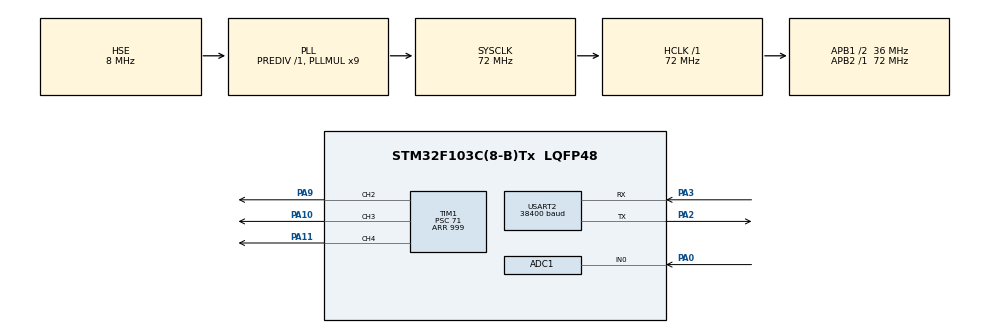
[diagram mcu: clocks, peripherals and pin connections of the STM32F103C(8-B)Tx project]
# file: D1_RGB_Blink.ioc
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ADC1.Channel-1\#ChannelRegularConversion=ADC_CHANNEL_0
ADC1.ContinuousConvMode=ENABLE
ADC1.NbrOfConversionFlag=1
ADC1.Rank-1\#ChannelRegularConversion=1
ADC1.SamplingTime-1\#ChannelRegularConversion=ADC_SAMPLETIME_239CYCLES_5
ADC1.master=1
FREERTOS.Queues01=adcQueue,4,uint32_t,0,Dynamic,NULL,NULL
FREERTOS.Tasks01=defaultTask,8,128,StartDefaultTask,Default,NULL,Dynamic,NULL,NULL;ADCTask,24,128,adcTaskFunc,Default,NULL,Dynamic,NULL,NULL;PWMTask,24,128,pwmTaskFunc,Default,NULL,Dynamic,NULL,NULL
Mcu.Family=STM32F1
Mcu.Name=STM32F103C(8-B)Tx
Mcu.Package=LQFP48
NVIC.PriorityGroup=NVIC_PRIORITYGROUP_4
NVIC.RCC_IRQn=true\:5\:0\:false\:false\:true\:true\:true\:false\:true
NVIC.TIM4_IRQn=true\:15\:0\:false\:false\:true\:false\:false\:true\:true
NVIC.TimeBase=TIM4_IRQn
NVIC.TimeBaseIP=TIM4
NVIC.USART2_IRQn=true\:5\:0\:false\:false\:true\:true\:true\:true\:true
PA0-WKUP.Signal=ADCx_IN0
PA10.Signal=S_TIM1_CH3
PA11.Signal=S_TIM1_CH4
PA13.Mode=Serial_Wire
PA13.Signal=SYS_JTMS-SWDIO
PA14.Mode=Serial_Wire
PA14.Signal=SYS_JTCK-SWCLK
PA2.Mode=Asynchronous
PA2.Signal=USART2_TX
PA3.Mode=Asynchronous
PA3.Signal=USART2_RX
PA4.Signal=USART2_CK
PA9.Signal=S_TIM1_CH2
PD0-OSC_IN.Mode=HSE-External-Oscillator
PD0-OSC_IN.Signal=RCC_OSC_IN
PD1-OSC_OUT.Mode=HSE-External-Oscillator
PD1-OSC_OUT.Signal=RCC_OSC_OUT
ProjectManager.HeapSize=0x200
ProjectManager.StackSize=0x400
ProjectManager.TargetToolchain=MDK-ARM V5.32
RCC.ADCPresc=RCC_ADCPCLK2_DIV6
RCC.AHBFreq_Value=72000000
RCC.APB1CLKDivider=RCC_HCLK_DIV2
RCC.APB1Freq_Value=36000000
RCC.APB1TimFreq_Value=72000000
RCC.APB2Freq_Value=72000000
RCC.APB2TimFreq_Value=72000000
RCC.HCLKFreq_Value=72000000
RCC.PLLMUL=RCC_PLL_MUL9
RCC.PLLSourceVirtual=RCC_PLLSOURCE_HSE
RCC.SYSCLKFreq_VALUE=72000000
RCC.SYSCLKSource=RCC_SYSCLKSOURCE_PLLCLK
RCC.USBFreq_Value=72000000
SH.ADCx_IN0.0=ADC1_IN0,IN0
SH.S_TIM1_CH2.0=TIM1_CH2,PWM Generation2 CH2
SH.S_TIM1_CH3.0=TIM1_CH3,PWM Generation3 CH3
SH.S_TIM1_CH4.0=TIM1_CH4,PWM Generation4 CH4
TIM1.AutoReloadPreload=TIM_AUTORELOAD_PRELOAD_DISABLE
TIM1.AutomaticOutput=TIM_AUTOMATICOUTPUT_DISABLE
TIM1.BreakPolarity=TIM_BREAKPOLARITY_LOW
TIM1.Channel-PWM\ Generation2\ CH2=TIM_CHANNEL_2
TIM1.Channel-PWM\ Generation3\ CH3=TIM_CHANNEL_3
TIM1.Channel-PWM\ Generation4\ CH4=TIM_CHANNEL_4
TIM1.OCFastMode_PWM-PWM\ Generation2\ CH2=TIM_OCFAST_DISABLE
TIM1.OCMode_PWM-PWM\ Generation2\ CH2=TIM_OCMODE_PWM1
TIM1.OCPolarity_2=TIM_OCPOLARITY_HIGH
TIM1.OCPolarity_3=TIM_OCPOLARITY_HIGH
TIM1.OCPolarity_4=TIM_OCPOLARITY_HIGH
TIM1.Period=999
TIM1.Prescaler=71
USART2.BaudRate=38400
USART2.VirtualMode=VM_ASYNC
VP_FREERTOS_VS_CMSIS_V2.Mode=CMSIS_V2
VP_SYS_VS_tim4.Mode=TIM4
VP_TIM1_VS_ClockSourceINT.Mode=Internal
board=custom

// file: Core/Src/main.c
/* USER CODE BEGIN Header */
/**
  ******************************************************************************
  * @file           : main.c
  * @brief          : Main program body
  ******************************************************************************
  * @attention
  *
  * Copyright (c) 2026 STMicroelectronics.
  * All rights reserved.
  *
  * This software is licensed under terms that can be found in the LICENSE file
  * in the root directory of this software component.
  * If no LICENSE file comes with this software, it is provided AS-IS.
  *
  ******************************************************************************
  */
/* USER CODE END Header */
#include "main.h"
#include "cmsis_os.h"

ADC_HandleTypeDef hadc1;

TIM_HandleTypeDef htim1;

UART_HandleTypeDef huart2;

/* Definitions for defaultTask */
osThreadId_t defaultTaskHandle;
const osThreadAttr_t defaultTask_attributes = {
  .name = "defaultTask",
  .stack_size = 128 * 4,
  .priority = (osPriority_t) osPriorityNormal,
};
/* Definitions for ADCTask */
osThreadId_t ADCTaskHandle;
const osThreadAttr_t ADCTask_attributes = {
  .name = "ADCTask",
  .stack_size = 128 * 4,
  .priority = (osPriority_t) osPriorityLow,
};
/* Definitions for PWMTask */
osThreadId_t PWMTaskHandle;
const osThreadAttr_t PWMTask_attributes = {
  .name = "PWMTask",
  .stack_size = 128 * 4,
  .priority = (osPriority_t) osPriorityLow,
};
/* Definitions for adcQueue */
osMessageQueueId_t adcQueueHandle;
const osMessageQueueAttr_t adcQueue_attributes = {
  .name = "adcQueue"
};
/* USER CODE BEGIN PV */

__IO uint8_t rx_cmd = 0;
uint8_t rx_buffer[3];

/* USER CODE END PV */

void SystemClock_Config(void);
static void MX_GPIO_Init(void);
static void MX_USART2_UART_Init(void);
static void MX_TIM1_Init(void);
static void MX_ADC1_Init(void);
void StartDefaultTask(void *argument);
void adcTaskFunc(void *argument);
void pwmTaskFunc(void *argument);

/* USER CODE BEGIN 0 */

void HAL_UART_RxCpltCallback(UART_HandleTypeDef *huart){
    if(huart->Instance == USART2){

        uint8_t ch = rx_buffer[0];

        if(ch != '\r' && ch != '\n'){
            rx_cmd = ch;
        }
        HAL_UART_Receive_IT(&huart2, rx_buffer, 1);
    }
}

void RGB_SetColor(uint8_t r, uint8_t g, uint8_t b)
{
    HAL_GPIO_WritePin(GPIOA, GPIO_PIN_11, r ? GPIO_PIN_SET : GPIO_PIN_RESET);
    HAL_GPIO_WritePin(GPIOA, GPIO_PIN_10, g ? GPIO_PIN_SET : GPIO_PIN_RESET);
    HAL_GPIO_WritePin(GPIOA, GPIO_PIN_9,  b ? GPIO_PIN_SET : GPIO_PIN_RESET);
}

/* USER CODE END 0 */

int main(void)
{

  /* MCU Configuration--------------------------------------------------------*/

  /* Reset of all peripherals, Initializes the Flash interface and the Systick. */
  HAL_Init();

  /* Configure the system clock */
  SystemClock_Config();

  /* Initialize all configured peripherals */
  MX_GPIO_Init();
  MX_USART2_UART_Init();
  MX_TIM1_Init();
  MX_ADC1_Init();
  /* USER CODE BEGIN 2 */
  HAL_UART_Receive_IT(&huart2,rx_buffer,1);
  HAL_TIM_PWM_Start(&htim1,TIM_CHANNEL_2);
  HAL_TIM_PWM_Start(&htim1,TIM_CHANNEL_3);
  HAL_TIM_PWM_Start(&htim1,TIM_CHANNEL_4);

  HAL_ADCEx_Calibration_Start(&hadc1);   // 上电自校准
  HAL_ADC_Start(&hadc1);                 // 启动连续转换

  /* USER CODE END 2 */

  /* Init scheduler */
  osKernelInitialize();

  /* Create the queue(s) */
  /* creation of adcQueue */
  adcQueueHandle = osMessageQueueNew (4, sizeof(uint32_t), &adcQueue_attributes);

  /* Create the thread(s) */
  /* creation of defaultTask */
  defaultTaskHandle = osThreadNew(StartDefaultTask, NULL, &defaultTask_attributes);

  /* creation of ADCTask */
  ADCTaskHandle = osThreadNew(adcTaskFunc, NULL, &ADCTask_attributes);

  /* creation of PWMTask */
  PWMTaskHandle = osThreadNew(pwmTaskFunc, NULL, &PWMTask_attributes);

  /* Start scheduler */
  osKernelStart();

  /* We should never get here as control is now taken by the scheduler */

  /* Infinite loop */
  while (1)
  {

  }
}

void SystemClock_Config(void)
{
  RCC_OscInitTypeDef RCC_OscInitStruct = {0};
  RCC_ClkInitTypeDef RCC_ClkInitStruct = {0};
  RCC_PeriphCLKInitTypeDef PeriphClkInit = {0};

  /** Initializes the RCC Oscillators according to the specified parameters
  * in the RCC_OscInitTypeDef structure.
  */
  RCC_OscInitStruct.OscillatorType = RCC_OSCILLATORTYPE_HSE;
  RCC_OscInitStruct.HSEState = RCC_HSE_ON;
  RCC_OscInitStruct.HSEPredivValue = RCC_HSE_PREDIV_DIV1;
  RCC_OscInitStruct.HSIState = RCC_HSI_ON;
  RCC_OscInitStruct.PLL.PLLState = RCC_PLL_ON;
  RCC_OscInitStruct.PLL.PLLSource = RCC_PLLSOURCE_HSE;
  RCC_OscInitStruct.PLL.PLLMUL = RCC_PLL_MUL9;
  if (HAL_RCC_OscConfig(&RCC_OscInitStruct) != HAL_OK)
  {
    Error_Handler();
  }

  /** Initializes the CPU, AHB and APB buses clocks
  */
  RCC_ClkInitStruct.ClockType = RCC_CLOCKTYPE_HCLK|RCC_CLOCKTYPE_SYSCLK
                              |RCC_CLOCKTYPE_PCLK1|RCC_CLOCKTYPE_PCLK2;
  RCC_ClkInitStruct.SYSCLKSource = RCC_SYSCLKSOURCE_PLLCLK;
  RCC_ClkInitStruct.AHBCLKDivider = RCC_SYSCLK_DIV1;
  RCC_ClkInitStruct.APB1CLKDivider = RCC_HCLK_DIV2;
  RCC_ClkInitStruct.APB2CLKDivider = RCC_HCLK_DIV1;

  if (HAL_RCC_ClockConfig(&RCC_ClkInitStruct, FLASH_LATENCY_2) != HAL_OK)
  {
    Error_Handler();
  }
  PeriphClkInit.PeriphClockSelection = RCC_PERIPHCLK_ADC;
  PeriphClkInit.AdcClockSelection = RCC_ADCPCLK2_DIV6;
  if (HAL_RCCEx_PeriphCLKConfig(&PeriphClkInit) != HAL_OK)
  {
    Error_Handler();
  }
}

static void MX_ADC1_Init(void)
{

  ADC_ChannelConfTypeDef sConfig = {0};

  /** Common config
  */
  hadc1.Instance = ADC1;
  hadc1.Init.ScanConvMode = ADC_SCAN_DISABLE;
  hadc1.Init.ContinuousConvMode = ENABLE;
  hadc1.Init.DiscontinuousConvMode = DISABLE;
  hadc1.Init.ExternalTrigConv = ADC_SOFTWARE_START;
  hadc1.Init.DataAlign = ADC_DATAALIGN_RIGHT;
  hadc1.Init.NbrOfConversion = 1;
  if (HAL_ADC_Init(&hadc1) != HAL_OK)
  {
    Error_Handler();
  }

  /** Configure Regular Channel
  */
  sConfig.Channel = ADC_CHANNEL_0;
  sConfig.Rank = ADC_REGULAR_RANK_1;
  sConfig.SamplingTime = ADC_SAMPLETIME_239CYCLES_5;
  if (HAL_ADC_ConfigChannel(&hadc1, &sConfig) != HAL_OK)
  {
    Error_Handler();
  }

}

static void MX_TIM1_Init(void)
{

  TIM_ClockConfigTypeDef sClockSourceConfig = {0};
  TIM_MasterConfigTypeDef sMasterConfig = {0};
  TIM_OC_InitTypeDef sConfigOC = {0};
  TIM_BreakDeadTimeConfigTypeDef sBreakDeadTimeConfig = {0};

  htim1.Instance = TIM1;
  htim1.Init.Prescaler = 71;
  htim1.Init.CounterMode = TIM_COUNTERMODE_UP;
  htim1.Init.Period = 999;
  htim1.Init.ClockDivision = TIM_CLOCKDIVISION_DIV1;
  htim1.Init.RepetitionCounter = 0;
  htim1.Init.AutoReloadPreload = TIM_AUTORELOAD_PRELOAD_DISABLE;
  if (HAL_TIM_Base_Init(&htim1) != HAL_OK)
  {
    Error_Handler();
  }
  sClockSourceConfig.ClockSource = TIM_CLOCKSOURCE_INTERNAL;
  if (HAL_TIM_ConfigClockSource(&htim1, &sClockSourceConfig) != HAL_OK)
  {
    Error_Handler();
  }
  if (HAL_TIM_PWM_Init(&htim1) != HAL_OK)
  {
    Error_Handler();
  }
  sMasterConfig.MasterOutputTrigger = TIM_TRGO_RESET;
  sMasterConfig.MasterSlaveMode = TIM_MASTERSLAVEMODE_DISABLE;
  if (HAL_TIMEx_MasterConfigSynchronization(&htim1, &sMasterConfig) != HAL_OK)
  {
    Error_Handler();
  }
  sConfigOC.OCMode = TIM_OCMODE_PWM1;
  sConfigOC.Pulse = 0;
  sConfigOC.OCPolarity = TIM_OCPOLARITY_HIGH;
  sConfigOC.OCNPolarity = TIM_OCNPOLARITY_HIGH;
  sConfigOC.OCFastMode = TIM_OCFAST_DISABLE;
  sConfigOC.OCIdleState = TIM_OCIDLESTATE_RESET;
  sConfigOC.OCNIdleState = TIM_OCNIDLESTATE_RESET;
  if (HAL_TIM_PWM_ConfigChannel(&htim1, &sConfigOC, TIM_CHANNEL_2) != HAL_OK)
  {
    Error_Handler();
  }
  if (HAL_TIM_PWM_ConfigChannel(&htim1, &sConfigOC, TIM_CHANNEL_3) != HAL_OK)
  {
    Error_Handler();
  }
  if (HAL_TIM_PWM_ConfigChannel(&htim1, &sConfigOC, TIM_CHANNEL_4) != HAL_OK)
  {
    Error_Handler();
  }
  sBreakDeadTimeConfig.OffStateRunMode = TIM_OSSR_DISABLE;
  sBreakDeadTimeConfig.OffStateIDLEMode = TIM_OSSI_DISABLE;
  sBreakDeadTimeConfig.LockLevel = TIM_LOCKLEVEL_OFF;
  sBreakDeadTimeConfig.DeadTime = 0;
  sBreakDeadTimeConfig.BreakState = TIM_BREAK_DISABLE;
  sBreakDeadTimeConfig.BreakPolarity = TIM_BREAKPOLARITY_LOW;
  sBreakDeadTimeConfig.AutomaticOutput = TIM_AUTOMATICOUTPUT_DISABLE;
  if (HAL_TIMEx_ConfigBreakDeadTime(&htim1, &sBreakDeadTimeConfig) != HAL_OK)
  {
    Error_Handler();
  }
  HAL_TIM_MspPostInit(&htim1);

}

static void MX_USART2_UART_Init(void)
{

  huart2.Instance = USART2;
  huart2.Init.BaudRate = 38400;
  huart2.Init.WordLength = UART_WORDLENGTH_8B;
  huart2.Init.StopBits = UART_STOPBITS_1;
  huart2.Init.Parity = UART_PARITY_NONE;
  huart2.Init.Mode = UART_MODE_TX_RX;
  huart2.Init.HwFlowCtl = UART_HWCONTROL_NONE;
  huart2.Init.OverSampling = UART_OVERSAMPLING_16;
  if (HAL_UART_Init(&huart2) != HAL_OK)
  {
    Error_Handler();
  }

}

static void MX_GPIO_Init(void)
{

  /* GPIO Ports Clock Enable */
  __HAL_RCC_GPIOD_CLK_ENABLE();
  __HAL_RCC_GPIOA_CLK_ENABLE();

}

void StartDefaultTask(void *argument)
{
  for(;;)
  {
    osDelay(1);
  }
}

void adcTaskFunc(void *argument)
{
  /* USER CODE BEGIN adcTaskFunc */
	uint32_t adc_value = 0;    // ADC 原始值（0~4095）
	uint32_t pwm_duty = 0;     // PWM 占空比（0~999）

    /* 自动标定：持续追踪 ADC 的最小和最大值 */
    static uint32_t adc_min = 4095;
    static uint32_t adc_max = 0;

  /* Infinite loop */
  for(;;)
  {
	adc_value = HAL_ADC_GetValue(&hadc1);
	if (adc_value < adc_min) adc_min = adc_value;
    if (adc_value > adc_max) adc_max = adc_value;
	if (adc_max > adc_min)
        pwm_duty = (uint16_t)((adc_value - adc_min) * 999 / (adc_max - adc_min));
    else
        pwm_duty = 0;
	osMessageQueuePut(adcQueueHandle,&pwm_duty,0,0);
    osDelay(20);
  }
  /* USER CODE END adcTaskFunc */
}

void pwmTaskFunc(void *argument)
{
  /* USER CODE BEGIN pwmTaskFunc */
	uint32_t pwm = 0;

  /* Infinite loop */
  for(;;)
  {

	osMessageQueueGet(adcQueueHandle, &pwm, NULL, osWaitForever);
	__HAL_TIM_SET_COMPARE(&htim1, TIM_CHANNEL_4, pwm);
    __HAL_TIM_SET_COMPARE(&htim1, TIM_CHANNEL_3, pwm);
    __HAL_TIM_SET_COMPARE(&htim1, TIM_CHANNEL_2, pwm);
  }
  /* USER CODE END pwmTaskFunc */
}

void HAL_TIM_PeriodElapsedCallback(TIM_HandleTypeDef *htim)
{
  if (htim->Instance == TIM4)
  {
    HAL_IncTick();
  }
}

void Error_Handler(void)
{
  __disable_irq();
  while (1)
  {
  }
}
